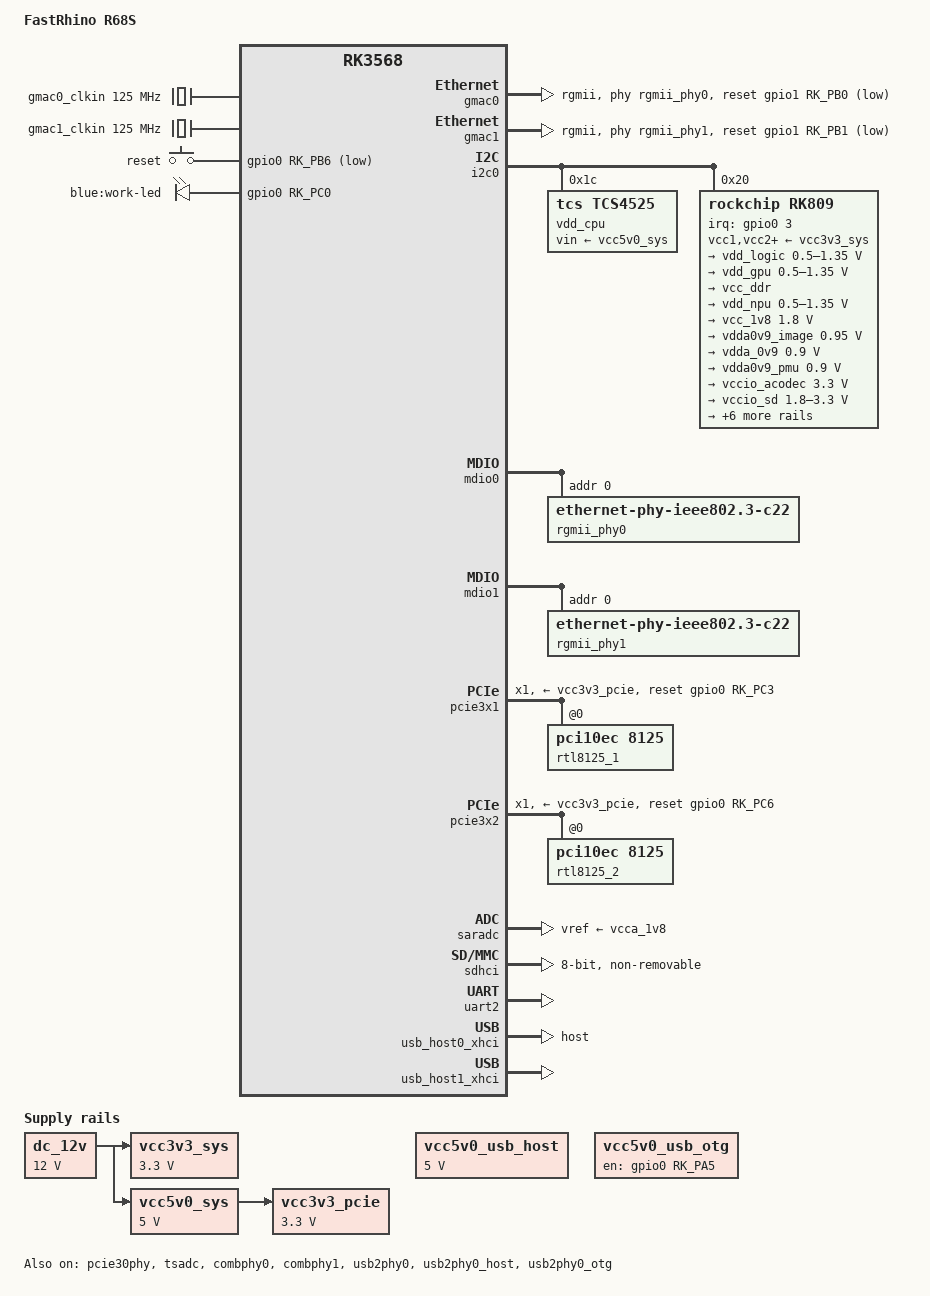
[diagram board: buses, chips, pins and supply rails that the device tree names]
// SPDX-License-Identifier: (GPL-2.0+ OR MIT)
/*
    Author: lean (https://github.com/coolsnowwolf)
*/

/dts-v1/;

#include <dt-bindings/gpio/gpio.h>
#include <dt-bindings/input/linux-event-codes.h>
#include <dt-bindings/pinctrl/rockchip.h>
#include "rk3568.dtsi"

/ {
	model = "FastRhino R68S";
	compatible = "rockchip,rk3568-lunzn-r68s", "rockchip,rk3568";

	aliases {
		ethernet0 = &gmac0;
		ethernet1 = &gmac1;
		ethernet2 = &rtl8125_2;
		ethernet3 = &rtl8125_1;

		led-boot = &led_work;
		led-failsafe = &led_work;
		led-running = &led_work;
		led-upgrade = &led_work;
	};

	chosen {
		stdout-path = "serial2:1500000n8";
	};
	
	gmac0_clkin: external-gmac0-clock {
		compatible = "fixed-clock";
		clock-frequency = <125000000>;
		clock-output-names = "gmac0_clkin";
		#clock-cells = <0>;
	};

	gmac1_clkin: external-gmac1-clock {
		compatible = "fixed-clock";
		clock-frequency = <125000000>;
		clock-output-names = "gmac1_clkin";
		#clock-cells = <0>;
	};

	dc_12v: dc-12v {
		compatible = "regulator-fixed";
		regulator-always-on;
		regulator-boot-on;
		regulator-min-microvolt = <12000000>;
		regulator-max-microvolt = <12000000>;
		regulator-name = "dc_12v";
	};

	vcc3v3_sys: vcc3v3-sys {
		compatible = "regulator-fixed";
		regulator-always-on;
		regulator-boot-on;
		regulator-min-microvolt = <3300000>;
		regulator-max-microvolt = <3300000>;
		regulator-name = "vcc3v3_sys";
		vin-supply = <&dc_12v>;
	};

	vcc5v0_sys: vcc5v0-sys {
		compatible = "regulator-fixed";
		regulator-always-on;
		regulator-boot-on;
		regulator-min-microvolt = <5000000>;
		regulator-max-microvolt = <5000000>;
		regulator-name = "vcc5v0_sys";
		vin-supply = <&dc_12v>;
	};

	vcc5v0_usb_host: vcc5v0-usb-host {
		compatible = "regulator-fixed";
		regulator-always-on;
		regulator-boot-on;
		regulator-min-microvolt = <5000000>;
		regulator-max-microvolt = <5000000>;
		regulator-name = "vcc5v0_usb_host";
	};

	vcc5v0_usb_otg: vcc5v0-usb-otg {
		compatible = "regulator-fixed";
		enable-active-high;
		gpio = <&gpio0 RK_PA5 GPIO_ACTIVE_HIGH>;
		pinctrl-names = "default";
		pinctrl-0 = <&vcc5v0_usb_otg_en>;
		regulator-always-on;
		regulator-boot-on;
		regulator-name = "vcc5v0_usb_otg";
	};

	vcc3v3_pcie: gpio-regulator {
		compatible = "regulator-fixed";
		regulator-always-on;
		regulator-boot-on;
		regulator-min-microvolt = <3300000>;
		regulator-max-microvolt = <3300000>;
		regulator-name = "vcc3v3_pcie";
		vin-supply = <&vcc5v0_sys>;
	};

	gpio-keys {
		compatible = "gpio-keys";
		pinctrl-names = "default";
		pinctrl-0 = <&reset_button_pin>;

		reset {
			label = "reset";
			gpios = <&gpio0 RK_PB6 GPIO_ACTIVE_LOW>;
			linux,code = <KEY_RESTART>;
			debounce-interval = <50>;
			wakeup-source;
		};
	};

	leds {
		compatible = "gpio-leds";

		led_work: led-work {
			label = "blue:work-led";
			gpios = <&gpio0 RK_PC0 GPIO_ACTIVE_HIGH>;
			linux,default-trigger = "heartbeat";
			pinctrl-names = "default";
			pinctrl-0 = <&led_work_en>;
		};
	};
};

&cpu0 {
	cpu-supply = <&vdd_cpu>;
};

&cpu1 {
	cpu-supply = <&vdd_cpu>;
};

&cpu2 {
	cpu-supply = <&vdd_cpu>;
};

&cpu3 {
	cpu-supply = <&vdd_cpu>;
};

&gmac0 {
	phy-mode = "rgmii";
	clock_in_out = "input";

	snps,reset-gpio = <&gpio1 RK_PB0 GPIO_ACTIVE_LOW>;
	snps,reset-active-low;
	/* Reset time is 20ms, 100ms for rtl8211f */
	snps,reset-delays-us = <0 20000 100000>;

	assigned-clocks = <&cru SCLK_GMAC0_RX_TX>, <&cru SCLK_GMAC0>;
	assigned-clock-parents = <&cru SCLK_GMAC0_RGMII_SPEED>, <&gmac0_clkin>;

	pinctrl-names = "default";
	pinctrl-0 = <&gmac0_miim
		     &gmac0_tx_bus2
		     &gmac0_rx_bus2
		     &gmac0_rgmii_clk
		     &gmac0_rgmii_bus
		     &gmac0_clkinout>;

	tx_delay = <0x3c>;
	rx_delay = <0x2f>;

	phy-handle = <&rgmii_phy0>;
	status = "okay";
};

&gmac1 {
	phy-mode = "rgmii";
	clock_in_out = "input";

	snps,reset-gpio = <&gpio1 RK_PB1 GPIO_ACTIVE_LOW>;
	snps,reset-active-low;
	/* Reset time is 20ms, 100ms for rtl8211f */
	snps,reset-delays-us = <0 20000 100000>;

	assigned-clocks = <&cru SCLK_GMAC1_RX_TX>, <&cru SCLK_GMAC1>;
	assigned-clock-parents = <&cru SCLK_GMAC1_RGMII_SPEED>, <&gmac1_clkin>;

	pinctrl-names = "default";
	pinctrl-0 = <&gmac1m1_miim
		     &gmac1m1_tx_bus2
		     &gmac1m1_rx_bus2
		     &gmac1m1_rgmii_clk
		     &gmac1m1_rgmii_bus
		     &gmac1m1_clkinout>;

	tx_delay = <0x4f>;
	rx_delay = <0x26>;

	phy-handle = <&rgmii_phy1>;
	status = "okay";
};

&i2c0 {
	status = "okay";

	vdd_cpu: regulator@1c {
		compatible = "tcs,tcs4525";
		reg = <0x1c>;
		vin-supply = <&vcc5v0_sys>;
		regulator-name = "vdd_cpu";
		regulator-min-microvolt = <800000>;
		regulator-max-microvolt = <1150000>;
		regulator-ramp-delay = <2300>;
		fcs,suspend-voltage-selector = <1>;
		regulator-boot-on;
		regulator-always-on;

		regulator-state-mem {
			regulator-off-in-suspend;
		};
	};

	rk809: pmic@20 {
		compatible = "rockchip,rk809";
		reg = <0x20>;
		interrupt-parent = <&gpio0>;
		interrupts = <3 IRQ_TYPE_LEVEL_LOW>;

		pinctrl-names = "default";
		pinctrl-0 = <&pmic_int>;

		rockchip,system-power-controller;
		wakeup-source;
		#clock-cells = <1>;
		clock-output-names = "rk808-clkout1", "rk808-clkout2";
		//fb-inner-reg-idxs = <2>;
		/* 1: rst regs (default in codes), 0: rst the pmic */
		pmic-reset-func = <0>;
		/* not save the PMIC_POWER_EN register in uboot */
		not-save-power-en = <1>;

		vcc1-supply = <&vcc3v3_sys>;
		vcc2-supply = <&vcc3v3_sys>;
		vcc3-supply = <&vcc3v3_sys>;
		vcc4-supply = <&vcc3v3_sys>;
		vcc5-supply = <&vcc3v3_sys>;
		vcc6-supply = <&vcc3v3_sys>;
		vcc7-supply = <&vcc3v3_sys>;
		vcc8-supply = <&vcc3v3_sys>;
		vcc9-supply = <&vcc3v3_sys>;

		// pwrkey {
		// 	status = "okay";
		// };

		// pinctrl_rk8xx: pinctrl_rk8xx {
		// 	gpio-controller;
		// 	#gpio-cells = <2>;

		// 	rk817_slppin_null: rk817_slppin_null {
		// 		pins = "gpio_slp";
		// 		function = "pin_fun0";
		// 	};

		// 	rk817_slppin_slp: rk817_slppin_slp {
		// 		pins = "gpio_slp";
		// 		function = "pin_fun1";
		// 	};

		// 	rk817_slppin_pwrdn: rk817_slppin_pwrdn {
		// 		pins = "gpio_slp";
		// 		function = "pin_fun2";
		// 	};

		// 	rk817_slppin_rst: rk817_slppin_rst {
		// 		pins = "gpio_slp";
		// 		function = "pin_fun3";
		// 	};
		// };

		regulators {
			vdd_logic: DCDC_REG1 {
				regulator-always-on;
				regulator-boot-on;
				regulator-min-microvolt = <500000>;
				regulator-max-microvolt = <1350000>;
				regulator-init-microvolt = <900000>;
				regulator-ramp-delay = <6001>;
				regulator-initial-mode = <0x2>;
				regulator-name = "vdd_logic";

				regulator-state-mem {
					regulator-off-in-suspend;
				};
			};

			vdd_gpu: DCDC_REG2 {
				// regulator-always-on;
				// regulator-boot-on;
				regulator-min-microvolt = <500000>;
				regulator-max-microvolt = <1350000>;
				regulator-init-microvolt = <900000>;
				regulator-ramp-delay = <6001>;
				regulator-initial-mode = <0x2>;
				regulator-name = "vdd_gpu";

				regulator-state-mem {
					regulator-off-in-suspend;
				};
			};

			vcc_ddr: DCDC_REG3 {
				regulator-always-on;
				regulator-boot-on;
				regulator-initial-mode = <0x2>;
				regulator-name = "vcc_ddr";

				regulator-state-mem {
					regulator-on-in-suspend;
				};
			};

			vdd_npu: DCDC_REG4 {
				// regulator-always-on;
				// regulator-boot-on;
				regulator-min-microvolt = <500000>;
				regulator-max-microvolt = <1350000>;
				regulator-init-microvolt = <900000>;
				regulator-ramp-delay = <6001>;
				regulator-initial-mode = <0x2>;
				regulator-name = "vdd_npu";

				regulator-state-mem {
					regulator-off-in-suspend;
				};
			};

			vcc_1v8: DCDC_REG5 {
				regulator-always-on;
				regulator-boot-on;
				regulator-min-microvolt = <1800000>;
				regulator-max-microvolt = <1800000>;
				regulator-name = "vcc_1v8";

				regulator-state-mem {
					regulator-off-in-suspend;
				};
			};

			vdda0v9_image: LDO_REG1 {
				// regulator-always-on;
				// regulator-boot-on;
				regulator-min-microvolt = <950000>;
				regulator-max-microvolt = <950000>;
				regulator-name = "vdda0v9_image";

				regulator-state-mem {
					regulator-off-in-suspend;
				};
			};

			vdda_0v9: LDO_REG2 {
				regulator-always-on;
				regulator-boot-on;
				regulator-min-microvolt = <900000>;
				regulator-max-microvolt = <900000>;
				regulator-name = "vdda_0v9";

				regulator-state-mem {
					regulator-off-in-suspend;
				};
			};

			vdda0v9_pmu: LDO_REG3 {
				regulator-always-on;
				regulator-boot-on;
				regulator-min-microvolt = <900000>;
				regulator-max-microvolt = <900000>;
				regulator-name = "vdda0v9_pmu";

				regulator-state-mem {
					regulator-on-in-suspend;
					regulator-suspend-microvolt = <900000>;
				};
			};

			vccio_acodec: LDO_REG4 {
				// regulator-always-on;
				// regulator-boot-on;
				regulator-min-microvolt = <3300000>;
				regulator-max-microvolt = <3300000>;
				regulator-name = "vccio_acodec";

				regulator-state-mem {
					regulator-off-in-suspend;
				};
			};

			vccio_sd: LDO_REG5 {
				// regulator-always-on;
				// regulator-boot-on;
				regulator-min-microvolt = <1800000>;
				regulator-max-microvolt = <3300000>;
				regulator-name = "vccio_sd";

				regulator-state-mem {
					regulator-off-in-suspend;
				};
			};

			vcc3v3_pmu: LDO_REG6 {
				regulator-always-on;
				regulator-boot-on;
				regulator-min-microvolt = <3300000>;
				regulator-max-microvolt = <3300000>;
				regulator-name = "vcc3v3_pmu";

				regulator-state-mem {
					regulator-on-in-suspend;
					regulator-suspend-microvolt = <3300000>;
				};
			};

			vcca_1v8: LDO_REG7 {
				regulator-always-on;
				regulator-boot-on;
				regulator-min-microvolt = <1800000>;
				regulator-max-microvolt = <1800000>;
				regulator-name = "vcca_1v8";

				regulator-state-mem {
					regulator-off-in-suspend;
				};
			};

			vcca1v8_pmu: LDO_REG8 {
				regulator-always-on;
				regulator-boot-on;
				regulator-min-microvolt = <1800000>;
				regulator-max-microvolt = <1800000>;
				regulator-name = "vcca1v8_pmu";

				regulator-state-mem {
					regulator-on-in-suspend;
					regulator-suspend-microvolt = <1800000>;
				};
			};

			vcca1v8_image: LDO_REG9 {
				// regulator-always-on;
				// regulator-boot-on;
				regulator-min-microvolt = <950000>;
				regulator-max-microvolt = <1800000>;
				regulator-init-microvolt = <950000>;
				regulator-name = "vcca1v8_image";

				regulator-state-mem {
					regulator-on-in-suspend;
					regulator-suspend-microvolt = <950000>;
				};
			};

			vcc_3v3: SWITCH_REG1 {
				regulator-always-on;
				regulator-boot-on;
				regulator-name = "vcc_3v3";

				regulator-state-mem {
					regulator-off-in-suspend;
				};
			};

			vcc3v3_sd: SWITCH_REG2 {
				// regulator-always-on;
				// regulator-boot-on;
				regulator-name = "vcc3v3_sd";

				regulator-state-mem {
					regulator-off-in-suspend;
				};
			};
		};
	};
};

&mdio0 {
	rgmii_phy0: ethernet-phy@0 {
		compatible = "ethernet-phy-ieee802.3-c22";
		reg = <0x0>;
	};
};

&mdio1 {
	rgmii_phy1: ethernet-phy@0 {
		compatible = "ethernet-phy-ieee802.3-c22";
		reg = <0x0>;
	};
};

&pcie30phy {
	data-lanes = <1 2>;
	status = "okay";
};

&pcie3x1 { 
	num-lanes = <1>;
	reset-gpios = <&gpio0 RK_PC3 GPIO_ACTIVE_HIGH>;
	vpcie3v3-supply = <&vcc3v3_pcie>;
	bus-scan-delay-ms = <1000>;
	status = "okay";

	pcie@0,0 {
		reg = <0x00100000 0 0 0 0>;
		#address-cells = <3>;
		#size-cells = <2>;

		rtl8125_1: pcie-eth@10,0 {
			compatible = "pci10ec,8125";
			reg = <0x000000 0 0 0 0>;

			realtek,led-data = <0x4078>;
		};
	};
};

&pcie3x2 {
	num-lanes = <1>;
	reset-gpios = <&gpio0 RK_PC6 GPIO_ACTIVE_HIGH>;
	vpcie3v3-supply = <&vcc3v3_pcie>;
	bus-scan-delay-ms = <1000>;
	status = "okay";

	pcie@0,0 {
		reg = <0x00200000 0 0 0 0>;
		#address-cells = <3>;
		#size-cells = <2>;

		rtl8125_2: pcie-eth@20,0 {
			compatible = "pci10ec,8125";
			reg = <0x000000 0 0 0 0>;

			realtek,led-data = <0x4078>;
		};
	};
};

&pinctrl {
	leds {
		led_work_en: led_work_en {
			rockchip,pins = <0 RK_PC0 RK_FUNC_GPIO &pcfg_pull_none>;
		};
	};

	pmic {
		pmic_int: pmic_int {
			rockchip,pins =
				<0 RK_PA3 RK_FUNC_GPIO &pcfg_pull_up>;
		};
	};

	rockchip-key {
		reset_button_pin: reset-button-pin {
			rockchip,pins = <0 RK_PB6 RK_FUNC_GPIO &pcfg_pull_up>;
		};
	};

	usb {
		vcc5v0_usb_otg_en: vcc5v0_usb_otg_en {
			rockchip,pins = <0 RK_PA5 RK_FUNC_GPIO &pcfg_pull_none>;
		};
	};
};

&pmu_io_domains {
	pmuio1-supply = <&vcc3v3_pmu>;
	pmuio2-supply = <&vcc3v3_pmu>;
	vccio1-supply = <&vccio_acodec>;
	vccio3-supply = <&vccio_sd>;
	vccio4-supply = <&vcc_1v8>;
	vccio5-supply = <&vcc_3v3>;
	vccio6-supply = <&vcc_1v8>;
	vccio7-supply = <&vcc_3v3>;
	status = "okay";
};

&saradc {
	vref-supply = <&vcca_1v8>;
	status = "okay";
};

&sdhci {
	bus-width = <8>;
	max-frequency = <200000000>;
	non-removable;
	supports-emmc;
	status = "okay";
};

&tsadc {
	status = "okay";
};

&uart2 {
	status = "okay";
};

&combphy0 {
	status = "okay";
};

&combphy1 {
	status = "okay";
};

&usb2phy0 {
	status = "okay";
};

&usb2phy0_host {
	phy-supply = <&vcc5v0_usb_host>;
	status = "okay";
};

&usb2phy0_otg {
	vbus-supply = <&vcc5v0_usb_otg>;
	status = "okay";
};

&usb_host0_xhci {
	extcon = <&usb2phy0>;
	dr_mode = "host";
	status = "okay";
};

&usb_host1_xhci {
	status = "okay";
};

// &gpu {
// 	mali-supply = <&vdd_gpu>;
// 	status = "okay";
// };

// &vop {
// 	assigned-clocks = <&cru DCLK_VOP0>, <&cru DCLK_VOP1>;
// 	assigned-clock-parents = <&pmucru PLL_HPLL>, <&cru PLL_VPLL>;
// 	status = "okay";
// };

// &vop_mmu {
// 	status = "okay";
// };

//&crypto {
//	status = "okay";
//};

&rng {
 	status = "disabled";
};

//&dfi {
// 	status = "okay";
//};

//&dmc {
// 	center-supply = <&vdd_logic>;
// 	status = "okay";
//};
